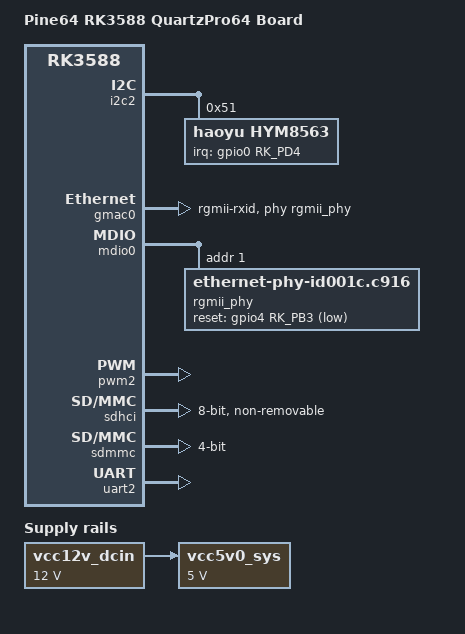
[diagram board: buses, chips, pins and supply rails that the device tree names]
// SPDX-License-Identifier: (GPL-2.0+ OR MIT)
/*
 * Copyright (c) 2021 Rockchip Electronics Co., Ltd.
 *
 */

/dts-v1/;

#include <dt-bindings/gpio/gpio.h>
#include <dt-bindings/pinctrl/rockchip.h>
#include "rk3588.dtsi"

/ {
	model = "Pine64 RK3588 QuartzPro64 Board";
	compatible = "pine64,quartzpro64", "rockchip,rk3588";

	aliases {
		mmc0 = &sdhci;
		mmc1 = &sdmmc;
		serial2 = &uart2;
	};

	chosen {
		stdout-path = "serial2:1500000n8";
	};

	vcc12v_dcin: vcc12v-dcin-regulator {
		compatible = "regulator-fixed";
		regulator-name = "vcc12v_dcin";
		regulator-always-on;
		regulator-boot-on;
		regulator-min-microvolt = <12000000>;
		regulator-max-microvolt = <12000000>;
	};

	vcc5v0_sys: vcc5v0-sys-regulator {
		compatible = "regulator-fixed";
		regulator-name = "vcc5v0_sys";
		regulator-always-on;
		regulator-boot-on;
		regulator-min-microvolt = <5000000>;
		regulator-max-microvolt = <5000000>;
		vin-supply = <&vcc12v_dcin>;
	};
};

&i2c2 {
	status = "okay";

	hym8563: rtc@51 {
		compatible = "haoyu,hym8563";
		reg = <0x51>;
		#clock-cells = <0>;
		clock-output-names = "hym8563";
		pinctrl-names = "default";
		pinctrl-0 = <&hym8563_int>;
		interrupt-parent = <&gpio0>;
		interrupts = <RK_PD4 IRQ_TYPE_LEVEL_LOW>;
		wakeup-source;
	};
};

&gmac0 {
	clock_in_out = "output";
	phy-handle = <&rgmii_phy>;
	phy-mode = "rgmii-rxid";
	pinctrl-0 = <&gmac0_miim
		     &gmac0_tx_bus2
		     &gmac0_rx_bus2
		     &gmac0_rgmii_clk
		     &gmac0_rgmii_bus>;
	pinctrl-names = "default";
	rx_delay = <0x00>;
	tx_delay = <0x43>;
	status = "okay";
};

&mdio0 {
	rgmii_phy: ethernet-phy@1 {
		/* RTL8211F */
		compatible = "ethernet-phy-id001c.c916";
		reg = <0x1>;
		pinctrl-names = "default";
		pinctrl-0 = <&rtl8211f_rst>;
		reset-assert-us = <20000>;
		reset-deassert-us = <100000>;
		reset-gpios = <&gpio4 RK_PB3 GPIO_ACTIVE_LOW>;
	};
};

&pinctrl {
	rtl8211f {
		rtl8211f_rst: rtl8211f-rst {
			rockchip,pins = <4 RK_PB3 RK_FUNC_GPIO &pcfg_pull_none>;
		};

	};

	hym8563 {
		hym8563_int: hym8563-int {
			rockchip,pins = <0 RK_PD4 RK_FUNC_GPIO &pcfg_pull_up>;
		};
	};
};

&pwm2 {
	status = "okay";
};

&sdhci {
	bus-width = <8>;
	no-sdio;
	no-sd;
	non-removable;
	max-frequency = <150000000>;
	mmc-hs200-1_8v;
	// mmc-hs400-1_8v;
	// mmc-hs400-enhanced-strobe;
	status = "okay";
};

&sdmmc {
	max-frequency = <150000000>;
	no-sdio;
	no-mmc;
	bus-width = <4>;
	cap-sd-highspeed;
	sd-uhs-sdr104;
	disable-wp;
	status = "okay";
};

&uart2 {
	pinctrl-0 = <&uart2m0_xfer>;
	status = "okay";
};
